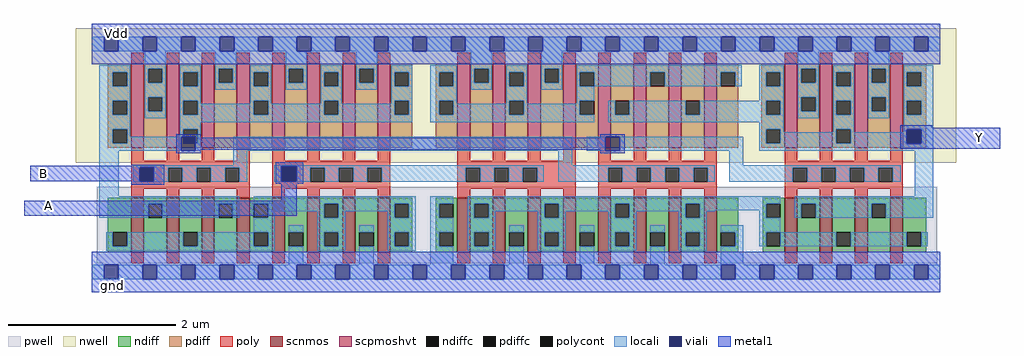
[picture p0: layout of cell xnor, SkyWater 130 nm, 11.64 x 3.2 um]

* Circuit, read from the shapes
.subckt xnor B A gnd Vdd Y
XM1 n1 B n2 VNB sky130_fd_pr__nfet_01v8 w=0.65 l=0.15 m=4
XM2 gnd A n2 VNB sky130_fd_pr__nfet_01v8 w=0.65 l=0.15 m=4
XM3 n3 A gnd VNB sky130_fd_pr__nfet_01v8 w=0.65 l=0.15 m=4
XM4 n3 B gnd VNB sky130_fd_pr__nfet_01v8 w=0.65 l=0.15 m=4
XM5 Y n1 n3 VNB sky130_fd_pr__nfet_01v8 w=0.65 l=0.15 m=4
XM6 Vdd B n1 VPB sky130_fd_pr__pfet_01v8_hvt w=1 l=0.15 m=4
XM7 Vdd A n1 VPB sky130_fd_pr__pfet_01v8_hvt w=1 l=0.15 m=4
XM8 Vdd A n4 VPB sky130_fd_pr__pfet_01v8_hvt w=1 l=0.15 m=4
XM9 Y B n4 VPB sky130_fd_pr__pfet_01v8_hvt w=1 l=0.15 m=4
XM10 Vdd n1 Y VPB sky130_fd_pr__pfet_01v8_hvt w=1 l=0.15 m=4
.ends

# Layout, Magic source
magic
tech sky130A
magscale 1 2
<< viali >>
rect 1944 306 1978 340
rect 114 216 148 250
rect 452 216 488 252
<< metal1 >>
rect 48 568 76 586
rect 1928 344 2004 350
rect 1928 340 2166 344
rect 1928 306 1944 340
rect 1978 306 2166 340
rect 1928 294 2166 306
rect 94 254 172 256
rect -147 250 172 254
rect -147 216 114 250
rect 148 216 172 250
rect 94 208 172 216
rect 438 252 504 262
rect 438 216 452 252
rect 488 216 504 252
rect 438 210 504 216
rect 452 170 488 210
rect -162 134 488 170
rect 28 -46 76 -16
use sky130_fd_sc_hd__xnor2_4  sky130_fd_sc_hd__xnor2_4_0 $PDKPATH/libs.ref/sky130_fd_sc_hd/mag
transform 1 0 0 0 1 0
box -38 -48 2062 592
<< labels >>
rlabel metal1 -116 236 -116 236 1 B
port 1 n
rlabel metal1 -104 158 -104 158 1 A
port 2 n
rlabel metal1 48 -32 48 -32 1 gnd
port 3 n
rlabel metal1 58 570 58 570 1 Vdd
port 4 n
rlabel metal1 2118 320 2118 320 1 Y
port 5 n
<< end >>

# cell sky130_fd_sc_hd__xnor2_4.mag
magic
tech sky130A
magscale 1 2
<< nwell >>
rect -38 261 2062 582
<< pwell >>
rect 12 21 2016 203
rect 29 -17 63 21
<< scnmos >>
rect 94 47 124 177
rect 178 47 208 177
rect 262 47 292 177
rect 346 47 376 177
rect 430 47 460 177
rect 514 47 544 177
rect 598 47 628 177
rect 682 47 712 177
rect 872 47 902 177
rect 956 47 986 177
rect 1040 47 1070 177
rect 1124 47 1154 177
rect 1208 47 1238 177
rect 1292 47 1322 177
rect 1376 47 1406 177
rect 1460 47 1490 177
rect 1652 47 1682 177
rect 1736 47 1766 177
rect 1820 47 1850 177
rect 1904 47 1934 177
<< scpmoshvt >>
rect 94 297 124 497
rect 178 297 208 497
rect 262 297 292 497
rect 346 297 376 497
rect 430 297 460 497
rect 514 297 544 497
rect 598 297 628 497
rect 682 297 712 497
rect 872 297 902 497
rect 956 297 986 497
rect 1040 297 1070 497
rect 1124 297 1154 497
rect 1208 297 1238 497
rect 1292 297 1322 497
rect 1376 297 1406 497
rect 1460 297 1490 497
rect 1652 297 1682 497
rect 1736 297 1766 497
rect 1820 297 1850 497
rect 1904 297 1934 497
<< ndiff >>
rect 38 95 94 177
rect 38 61 50 95
rect 84 61 94 95
rect 38 47 94 61
rect 124 163 178 177
rect 124 129 134 163
rect 168 129 178 163
rect 124 47 178 129
rect 208 95 262 177
rect 208 61 218 95
rect 252 61 262 95
rect 208 47 262 61
rect 292 163 346 177
rect 292 129 302 163
rect 336 129 346 163
rect 292 47 346 129
rect 376 163 430 177
rect 376 129 386 163
rect 420 129 430 163
rect 376 95 430 129
rect 376 61 386 95
rect 420 61 430 95
rect 376 47 430 61
rect 460 95 514 177
rect 460 61 470 95
rect 504 61 514 95
rect 460 47 514 61
rect 544 163 598 177
rect 544 129 554 163
rect 588 129 598 163
rect 544 95 598 129
rect 544 61 554 95
rect 588 61 598 95
rect 544 47 598 61
rect 628 95 682 177
rect 628 61 638 95
rect 672 61 682 95
rect 628 47 682 61
rect 712 163 764 177
rect 712 129 722 163
rect 756 129 764 163
rect 712 95 764 129
rect 712 61 722 95
rect 756 61 764 95
rect 712 47 764 61
rect 820 163 872 177
rect 820 129 828 163
rect 862 129 872 163
rect 820 95 872 129
rect 820 61 828 95
rect 862 61 872 95
rect 820 47 872 61
rect 902 163 956 177
rect 902 129 912 163
rect 946 129 956 163
rect 902 95 956 129
rect 902 61 912 95
rect 946 61 956 95
rect 902 47 956 61
rect 986 95 1040 177
rect 986 61 996 95
rect 1030 61 1040 95
rect 986 47 1040 61
rect 1070 163 1124 177
rect 1070 129 1080 163
rect 1114 129 1124 163
rect 1070 95 1124 129
rect 1070 61 1080 95
rect 1114 61 1124 95
rect 1070 47 1124 61
rect 1154 95 1208 177
rect 1154 61 1164 95
rect 1198 61 1208 95
rect 1154 47 1208 61
rect 1238 163 1292 177
rect 1238 129 1248 163
rect 1282 129 1292 163
rect 1238 95 1292 129
rect 1238 61 1248 95
rect 1282 61 1292 95
rect 1238 47 1292 61
rect 1322 95 1376 177
rect 1322 61 1332 95
rect 1366 61 1376 95
rect 1322 47 1376 61
rect 1406 163 1460 177
rect 1406 129 1416 163
rect 1450 129 1460 163
rect 1406 95 1460 129
rect 1406 61 1416 95
rect 1450 61 1460 95
rect 1406 47 1460 61
rect 1490 95 1542 177
rect 1490 61 1500 95
rect 1534 61 1542 95
rect 1490 47 1542 61
rect 1600 163 1652 177
rect 1600 129 1608 163
rect 1642 129 1652 163
rect 1600 95 1652 129
rect 1600 61 1608 95
rect 1642 61 1652 95
rect 1600 47 1652 61
rect 1682 163 1736 177
rect 1682 129 1692 163
rect 1726 129 1736 163
rect 1682 47 1736 129
rect 1766 95 1820 177
rect 1766 61 1776 95
rect 1810 61 1820 95
rect 1766 47 1820 61
rect 1850 163 1904 177
rect 1850 129 1860 163
rect 1894 129 1904 163
rect 1850 47 1904 129
rect 1934 95 1990 177
rect 1934 61 1944 95
rect 1978 61 1990 95
rect 1934 47 1990 61
<< pdiff >>
rect 38 477 94 497
rect 38 443 50 477
rect 84 443 94 477
rect 38 409 94 443
rect 38 375 50 409
rect 84 375 94 409
rect 38 341 94 375
rect 38 307 50 341
rect 84 307 94 341
rect 38 297 94 307
rect 124 485 178 497
rect 124 451 134 485
rect 168 451 178 485
rect 124 417 178 451
rect 124 383 134 417
rect 168 383 178 417
rect 124 297 178 383
rect 208 477 262 497
rect 208 443 218 477
rect 252 443 262 477
rect 208 409 262 443
rect 208 375 218 409
rect 252 375 262 409
rect 208 341 262 375
rect 208 307 218 341
rect 252 307 262 341
rect 208 297 262 307
rect 292 485 346 497
rect 292 451 302 485
rect 336 451 346 485
rect 292 297 346 451
rect 376 477 430 497
rect 376 443 386 477
rect 420 443 430 477
rect 376 409 430 443
rect 376 375 386 409
rect 420 375 430 409
rect 376 297 430 375
rect 460 485 514 497
rect 460 451 470 485
rect 504 451 514 485
rect 460 297 514 451
rect 544 477 598 497
rect 544 443 554 477
rect 588 443 598 477
rect 544 409 598 443
rect 544 375 554 409
rect 588 375 598 409
rect 544 297 598 375
rect 628 485 682 497
rect 628 451 638 485
rect 672 451 682 485
rect 628 297 682 451
rect 712 477 764 497
rect 712 443 722 477
rect 756 443 764 477
rect 712 409 764 443
rect 712 375 722 409
rect 756 375 764 409
rect 712 297 764 375
rect 820 477 872 497
rect 820 443 828 477
rect 862 443 872 477
rect 820 409 872 443
rect 820 375 828 409
rect 862 375 872 409
rect 820 297 872 375
rect 902 485 956 497
rect 902 451 912 485
rect 946 451 956 485
rect 902 297 956 451
rect 986 477 1040 497
rect 986 443 996 477
rect 1030 443 1040 477
rect 986 409 1040 443
rect 986 375 996 409
rect 1030 375 1040 409
rect 986 297 1040 375
rect 1070 485 1124 497
rect 1070 451 1080 485
rect 1114 451 1124 485
rect 1070 297 1124 451
rect 1154 477 1208 497
rect 1154 443 1164 477
rect 1198 443 1208 477
rect 1154 409 1208 443
rect 1154 375 1164 409
rect 1198 375 1208 409
rect 1154 297 1208 375
rect 1238 409 1292 497
rect 1238 375 1248 409
rect 1282 375 1292 409
rect 1238 297 1292 375
rect 1322 477 1376 497
rect 1322 443 1332 477
rect 1366 443 1376 477
rect 1322 297 1376 443
rect 1406 409 1460 497
rect 1406 375 1416 409
rect 1450 375 1460 409
rect 1406 297 1460 375
rect 1490 477 1542 497
rect 1490 443 1500 477
rect 1534 443 1542 477
rect 1490 297 1542 443
rect 1596 477 1652 497
rect 1596 443 1608 477
rect 1642 443 1652 477
rect 1596 409 1652 443
rect 1596 375 1608 409
rect 1642 375 1652 409
rect 1596 341 1652 375
rect 1596 307 1608 341
rect 1642 307 1652 341
rect 1596 297 1652 307
rect 1682 485 1736 497
rect 1682 451 1692 485
rect 1726 451 1736 485
rect 1682 417 1736 451
rect 1682 383 1692 417
rect 1726 383 1736 417
rect 1682 297 1736 383
rect 1766 477 1820 497
rect 1766 443 1776 477
rect 1810 443 1820 477
rect 1766 409 1820 443
rect 1766 375 1776 409
rect 1810 375 1820 409
rect 1766 341 1820 375
rect 1766 307 1776 341
rect 1810 307 1820 341
rect 1766 297 1820 307
rect 1850 485 1904 497
rect 1850 451 1860 485
rect 1894 451 1904 485
rect 1850 417 1904 451
rect 1850 383 1860 417
rect 1894 383 1904 417
rect 1850 297 1904 383
rect 1934 477 1990 497
rect 1934 443 1944 477
rect 1978 443 1990 477
rect 1934 409 1990 443
rect 1934 375 1944 409
rect 1978 375 1990 409
rect 1934 341 1990 375
rect 1934 307 1944 341
rect 1978 307 1990 341
rect 1934 297 1990 307
<< ndiffc >>
rect 50 61 84 95
rect 134 129 168 163
rect 218 61 252 95
rect 302 129 336 163
rect 386 129 420 163
rect 386 61 420 95
rect 470 61 504 95
rect 554 129 588 163
rect 554 61 588 95
rect 638 61 672 95
rect 722 129 756 163
rect 722 61 756 95
rect 828 129 862 163
rect 828 61 862 95
rect 912 129 946 163
rect 912 61 946 95
rect 996 61 1030 95
rect 1080 129 1114 163
rect 1080 61 1114 95
rect 1164 61 1198 95
rect 1248 129 1282 163
rect 1248 61 1282 95
rect 1332 61 1366 95
rect 1416 129 1450 163
rect 1416 61 1450 95
rect 1500 61 1534 95
rect 1608 129 1642 163
rect 1608 61 1642 95
rect 1692 129 1726 163
rect 1776 61 1810 95
rect 1860 129 1894 163
rect 1944 61 1978 95
<< pdiffc >>
rect 50 443 84 477
rect 50 375 84 409
rect 50 307 84 341
rect 134 451 168 485
rect 134 383 168 417
rect 218 443 252 477
rect 218 375 252 409
rect 218 307 252 341
rect 302 451 336 485
rect 386 443 420 477
rect 386 375 420 409
rect 470 451 504 485
rect 554 443 588 477
rect 554 375 588 409
rect 638 451 672 485
rect 722 443 756 477
rect 722 375 756 409
rect 828 443 862 477
rect 828 375 862 409
rect 912 451 946 485
rect 996 443 1030 477
rect 996 375 1030 409
rect 1080 451 1114 485
rect 1164 443 1198 477
rect 1164 375 1198 409
rect 1248 375 1282 409
rect 1332 443 1366 477
rect 1416 375 1450 409
rect 1500 443 1534 477
rect 1608 443 1642 477
rect 1608 375 1642 409
rect 1608 307 1642 341
rect 1692 451 1726 485
rect 1692 383 1726 417
rect 1776 443 1810 477
rect 1776 375 1810 409
rect 1776 307 1810 341
rect 1860 451 1894 485
rect 1860 383 1894 417
rect 1944 443 1978 477
rect 1944 375 1978 409
rect 1944 307 1978 341
<< poly >>
rect 94 497 124 523
rect 178 497 208 523
rect 262 497 292 523
rect 346 497 376 523
rect 430 497 460 523
rect 514 497 544 523
rect 598 497 628 523
rect 682 497 712 523
rect 872 497 902 523
rect 956 497 986 523
rect 1040 497 1070 523
rect 1124 497 1154 523
rect 1208 497 1238 523
rect 1292 497 1322 523
rect 1376 497 1406 523
rect 1460 497 1490 523
rect 1652 497 1682 523
rect 1736 497 1766 523
rect 1820 497 1850 523
rect 1904 497 1934 523
rect 94 265 124 297
rect 178 265 208 297
rect 262 265 292 297
rect 346 265 376 297
rect 94 249 376 265
rect 94 215 114 249
rect 148 215 182 249
rect 216 215 250 249
rect 284 215 318 249
rect 352 215 376 249
rect 94 199 376 215
rect 94 177 124 199
rect 178 177 208 199
rect 262 177 292 199
rect 346 177 376 199
rect 430 265 460 297
rect 514 265 544 297
rect 598 265 628 297
rect 682 265 712 297
rect 430 249 712 265
rect 430 215 453 249
rect 487 215 521 249
rect 555 215 589 249
rect 623 215 657 249
rect 691 215 712 249
rect 430 199 712 215
rect 430 177 460 199
rect 514 177 544 199
rect 598 177 628 199
rect 682 177 712 199
rect 872 265 902 297
rect 956 265 986 297
rect 1040 265 1070 297
rect 1124 265 1154 297
rect 872 249 1154 265
rect 872 215 892 249
rect 926 215 960 249
rect 994 215 1028 249
rect 1062 215 1154 249
rect 872 199 1154 215
rect 872 177 902 199
rect 956 177 986 199
rect 1040 177 1070 199
rect 1124 177 1154 199
rect 1208 265 1238 297
rect 1292 265 1322 297
rect 1376 265 1406 297
rect 1460 265 1490 297
rect 1208 249 1490 265
rect 1208 215 1231 249
rect 1265 215 1299 249
rect 1333 215 1367 249
rect 1401 215 1435 249
rect 1469 215 1490 249
rect 1208 199 1490 215
rect 1208 177 1238 199
rect 1292 177 1322 199
rect 1376 177 1406 199
rect 1460 177 1490 199
rect 1652 265 1682 297
rect 1736 265 1766 297
rect 1820 265 1850 297
rect 1904 265 1934 297
rect 1652 249 1934 265
rect 1652 215 1672 249
rect 1706 215 1740 249
rect 1774 215 1808 249
rect 1842 215 1876 249
rect 1910 215 1934 249
rect 1652 199 1934 215
rect 1652 177 1682 199
rect 1736 177 1766 199
rect 1820 177 1850 199
rect 1904 177 1934 199
rect 94 21 124 47
rect 178 21 208 47
rect 262 21 292 47
rect 346 21 376 47
rect 430 21 460 47
rect 514 21 544 47
rect 598 21 628 47
rect 682 21 712 47
rect 872 21 902 47
rect 956 21 986 47
rect 1040 21 1070 47
rect 1124 21 1154 47
rect 1208 21 1238 47
rect 1292 21 1322 47
rect 1376 21 1406 47
rect 1460 21 1490 47
rect 1652 21 1682 47
rect 1736 21 1766 47
rect 1820 21 1850 47
rect 1904 21 1934 47
<< polycont >>
rect 114 215 148 249
rect 182 215 216 249
rect 250 215 284 249
rect 318 215 352 249
rect 453 215 487 249
rect 521 215 555 249
rect 589 215 623 249
rect 657 215 691 249
rect 892 215 926 249
rect 960 215 994 249
rect 1028 215 1062 249
rect 1231 215 1265 249
rect 1299 215 1333 249
rect 1367 215 1401 249
rect 1435 215 1469 249
rect 1672 215 1706 249
rect 1740 215 1774 249
rect 1808 215 1842 249
rect 1876 215 1910 249
<< locali >>
rect 0 527 29 561
rect 63 527 121 561
rect 155 527 213 561
rect 247 527 305 561
rect 339 527 397 561
rect 431 527 489 561
rect 523 527 581 561
rect 615 527 673 561
rect 707 527 765 561
rect 799 527 857 561
rect 891 527 949 561
rect 983 527 1041 561
rect 1075 527 1133 561
rect 1167 527 1225 561
rect 1259 527 1317 561
rect 1351 527 1409 561
rect 1443 527 1501 561
rect 1535 527 1593 561
rect 1627 527 1685 561
rect 1719 527 1777 561
rect 1811 527 1869 561
rect 1903 527 1961 561
rect 1995 527 2024 561
rect 17 477 92 493
rect 17 443 50 477
rect 84 443 92 477
rect 17 409 92 443
rect 17 375 50 409
rect 84 375 92 409
rect 17 341 92 375
rect 126 485 176 527
rect 126 451 134 485
rect 168 451 176 485
rect 126 417 176 451
rect 126 383 134 417
rect 168 383 176 417
rect 126 367 176 383
rect 210 477 260 493
rect 210 443 218 477
rect 252 443 260 477
rect 210 409 260 443
rect 294 485 344 527
rect 294 451 302 485
rect 336 451 344 485
rect 294 435 344 451
rect 378 477 428 493
rect 378 443 386 477
rect 420 443 428 477
rect 210 375 218 409
rect 252 401 260 409
rect 378 409 428 443
rect 462 485 512 527
rect 462 451 470 485
rect 504 451 512 485
rect 462 435 512 451
rect 546 477 596 493
rect 546 443 554 477
rect 588 443 596 477
rect 378 401 386 409
rect 252 375 386 401
rect 420 401 428 409
rect 546 409 596 443
rect 630 485 680 527
rect 630 451 638 485
rect 672 451 680 485
rect 630 435 680 451
rect 714 477 764 493
rect 714 443 722 477
rect 756 443 764 477
rect 546 401 554 409
rect 420 375 554 401
rect 588 401 596 409
rect 714 409 764 443
rect 714 401 722 409
rect 588 375 722 401
rect 756 375 764 409
rect 17 307 50 341
rect 84 323 92 341
rect 210 357 764 375
rect 807 477 870 493
rect 807 443 828 477
rect 862 443 870 477
rect 807 409 870 443
rect 904 485 954 527
rect 904 451 912 485
rect 946 451 954 485
rect 904 435 954 451
rect 988 477 1038 493
rect 988 443 996 477
rect 1030 443 1038 477
rect 807 375 828 409
rect 862 401 870 409
rect 988 409 1038 443
rect 1072 485 1122 527
rect 1072 451 1080 485
rect 1114 451 1122 485
rect 1072 435 1122 451
rect 1156 477 1550 493
rect 1156 443 1164 477
rect 1198 443 1332 477
rect 1366 443 1500 477
rect 1534 443 1550 477
rect 1592 477 1650 493
rect 1592 443 1608 477
rect 1642 443 1650 477
rect 988 401 996 409
rect 862 375 996 401
rect 1030 401 1038 409
rect 1156 409 1198 443
rect 1592 409 1650 443
rect 1156 401 1164 409
rect 1030 375 1164 401
rect 807 357 1198 375
rect 1232 375 1248 409
rect 1282 375 1416 409
rect 1450 375 1608 409
rect 1642 375 1650 409
rect 1232 357 1650 375
rect 1684 485 1734 527
rect 1684 451 1692 485
rect 1726 451 1734 485
rect 1684 417 1734 451
rect 1684 383 1692 417
rect 1726 383 1734 417
rect 1684 367 1734 383
rect 1768 477 1818 493
rect 1768 443 1776 477
rect 1810 443 1818 477
rect 1768 409 1818 443
rect 1768 375 1776 409
rect 1810 375 1818 409
rect 210 341 260 357
rect 210 323 218 341
rect 84 307 213 323
rect 252 307 260 341
rect 1592 341 1650 357
rect 17 289 213 307
rect 247 289 260 307
rect 337 289 1146 323
rect 1180 289 1225 323
rect 1259 289 1554 323
rect 1592 307 1608 341
rect 1642 333 1650 341
rect 1768 341 1818 375
rect 1852 485 1902 527
rect 1852 451 1860 485
rect 1894 451 1902 485
rect 1852 417 1902 451
rect 1852 383 1860 417
rect 1894 383 1902 417
rect 1852 367 1902 383
rect 1936 477 2007 493
rect 1936 443 1944 477
rect 1978 443 2007 477
rect 1936 409 2007 443
rect 1936 375 1944 409
rect 1978 375 2007 409
rect 1768 333 1776 341
rect 1642 307 1776 333
rect 1810 333 1818 341
rect 1936 341 2007 375
rect 1936 333 1944 341
rect 1810 307 1944 333
rect 1978 307 2007 341
rect 1592 289 2007 307
rect 17 181 64 289
rect 337 255 371 289
rect 1112 255 1146 289
rect 1520 255 1554 289
rect 98 249 371 255
rect 98 215 114 249
rect 148 215 182 249
rect 216 215 250 249
rect 284 215 318 249
rect 352 215 371 249
rect 435 249 1078 255
rect 435 215 453 249
rect 487 215 521 249
rect 555 215 589 249
rect 623 215 657 249
rect 691 215 892 249
rect 926 215 960 249
rect 994 215 1028 249
rect 1062 215 1078 249
rect 1112 249 1486 255
rect 1112 215 1231 249
rect 1265 215 1299 249
rect 1333 215 1367 249
rect 1401 215 1435 249
rect 1469 215 1486 249
rect 1520 249 1929 255
rect 1520 215 1672 249
rect 1706 215 1740 249
rect 1774 215 1808 249
rect 1842 215 1876 249
rect 1910 215 1929 249
rect 1963 181 2007 289
rect 17 163 352 181
rect 17 129 134 163
rect 168 129 302 163
rect 336 129 352 163
rect 386 163 772 181
rect 420 145 554 163
rect 420 129 436 145
rect 386 95 436 129
rect 538 129 554 145
rect 588 145 722 163
rect 588 129 604 145
rect 34 61 50 95
rect 84 61 218 95
rect 252 61 386 95
rect 420 61 436 95
rect 34 51 436 61
rect 470 95 504 111
rect 470 17 504 61
rect 538 95 604 129
rect 706 129 722 145
rect 756 129 772 163
rect 538 61 554 95
rect 588 61 604 95
rect 538 51 604 61
rect 638 95 672 111
rect 638 17 672 61
rect 706 95 772 129
rect 706 61 722 95
rect 756 61 772 95
rect 706 51 772 61
rect 807 163 862 181
rect 807 129 828 163
rect 807 95 862 129
rect 807 61 828 95
rect 807 17 862 61
rect 896 163 1642 181
rect 896 129 912 163
rect 946 145 1080 163
rect 946 129 962 145
rect 896 95 962 129
rect 1064 129 1080 145
rect 1114 145 1248 163
rect 1114 129 1130 145
rect 896 61 912 95
rect 946 61 962 95
rect 896 51 962 61
rect 996 95 1030 111
rect 996 17 1030 61
rect 1064 95 1130 129
rect 1232 129 1248 145
rect 1282 145 1416 163
rect 1282 129 1298 145
rect 1064 61 1080 95
rect 1114 61 1130 95
rect 1064 51 1130 61
rect 1164 95 1198 111
rect 1164 17 1198 61
rect 1232 95 1298 129
rect 1400 129 1416 145
rect 1450 147 1608 163
rect 1450 145 1486 147
rect 1450 129 1466 145
rect 1232 61 1248 95
rect 1282 61 1298 95
rect 1232 51 1298 61
rect 1332 95 1366 111
rect 1332 17 1366 61
rect 1400 95 1466 129
rect 1592 129 1608 147
rect 1676 163 2007 181
rect 1676 129 1692 163
rect 1726 129 1860 163
rect 1894 129 2007 163
rect 1400 61 1416 95
rect 1450 61 1466 95
rect 1400 51 1466 61
rect 1500 95 1554 111
rect 1534 61 1554 95
rect 1592 95 1642 129
rect 1592 61 1608 95
rect 1642 61 1776 95
rect 1810 61 1944 95
rect 1978 61 1994 95
rect 1500 17 1554 61
rect 0 -17 29 17
rect 63 -17 121 17
rect 155 -17 213 17
rect 247 -17 305 17
rect 339 -17 397 17
rect 431 -17 489 17
rect 523 -17 581 17
rect 615 -17 673 17
rect 707 -17 765 17
rect 799 -17 857 17
rect 891 -17 949 17
rect 983 -17 1041 17
rect 1075 -17 1133 17
rect 1167 -17 1225 17
rect 1259 -17 1317 17
rect 1351 -17 1409 17
rect 1443 -17 1501 17
rect 1535 -17 1593 17
rect 1627 -17 1685 17
rect 1719 -17 1777 17
rect 1811 -17 1869 17
rect 1903 -17 1961 17
rect 1995 -17 2024 17
<< viali >>
rect 29 527 63 561
rect 121 527 155 561
rect 213 527 247 561
rect 305 527 339 561
rect 397 527 431 561
rect 489 527 523 561
rect 581 527 615 561
rect 673 527 707 561
rect 765 527 799 561
rect 857 527 891 561
rect 949 527 983 561
rect 1041 527 1075 561
rect 1133 527 1167 561
rect 1225 527 1259 561
rect 1317 527 1351 561
rect 1409 527 1443 561
rect 1501 527 1535 561
rect 1593 527 1627 561
rect 1685 527 1719 561
rect 1777 527 1811 561
rect 1869 527 1903 561
rect 1961 527 1995 561
rect 213 307 218 323
rect 218 307 247 323
rect 213 289 247 307
rect 1225 289 1259 323
rect 29 -17 63 17
rect 121 -17 155 17
rect 213 -17 247 17
rect 305 -17 339 17
rect 397 -17 431 17
rect 489 -17 523 17
rect 581 -17 615 17
rect 673 -17 707 17
rect 765 -17 799 17
rect 857 -17 891 17
rect 949 -17 983 17
rect 1041 -17 1075 17
rect 1133 -17 1167 17
rect 1225 -17 1259 17
rect 1317 -17 1351 17
rect 1409 -17 1443 17
rect 1501 -17 1535 17
rect 1593 -17 1627 17
rect 1685 -17 1719 17
rect 1777 -17 1811 17
rect 1869 -17 1903 17
rect 1961 -17 1995 17
<< metal1 >>
rect 0 561 2024 592
rect 0 527 29 561
rect 63 527 121 561
rect 155 527 213 561
rect 247 527 305 561
rect 339 527 397 561
rect 431 527 489 561
rect 523 527 581 561
rect 615 527 673 561
rect 707 527 765 561
rect 799 527 857 561
rect 891 527 949 561
rect 983 527 1041 561
rect 1075 527 1133 561
rect 1167 527 1225 561
rect 1259 527 1317 561
rect 1351 527 1409 561
rect 1443 527 1501 561
rect 1535 527 1593 561
rect 1627 527 1685 561
rect 1719 527 1777 561
rect 1811 527 1869 561
rect 1903 527 1961 561
rect 1995 527 2024 561
rect 0 496 2024 527
rect 201 323 259 329
rect 201 289 213 323
rect 247 320 259 323
rect 1213 323 1271 329
rect 1213 320 1225 323
rect 247 292 1225 320
rect 247 289 259 292
rect 201 283 259 289
rect 1213 289 1225 292
rect 1259 289 1271 323
rect 1213 283 1271 289
rect 0 17 2024 48
rect 0 -17 29 17
rect 63 -17 121 17
rect 155 -17 213 17
rect 247 -17 305 17
rect 339 -17 397 17
rect 431 -17 489 17
rect 523 -17 581 17
rect 615 -17 673 17
rect 707 -17 765 17
rect 799 -17 857 17
rect 891 -17 949 17
rect 983 -17 1041 17
rect 1075 -17 1133 17
rect 1167 -17 1225 17
rect 1259 -17 1317 17
rect 1351 -17 1409 17
rect 1443 -17 1501 17
rect 1535 -17 1593 17
rect 1627 -17 1685 17
rect 1719 -17 1777 17
rect 1811 -17 1869 17
rect 1903 -17 1961 17
rect 1995 -17 2024 17
rect 0 -48 2024 -17
<< labels >>
flabel locali s 1965 357 1999 391 0 FreeSans 400 0 0 0 Y
port 7 nsew signal output
flabel locali s 213 221 247 255 0 FreeSans 400 0 0 0 B
port 2 nsew signal input
flabel locali s 765 221 799 255 0 FreeSans 400 0 0 0 A
port 1 nsew signal input
flabel pwell s 29 -17 63 17 0 FreeSans 200 0 0 0 VNB
port 4 nsew ground bidirectional
flabel nwell s 29 527 63 561 0 FreeSans 200 0 0 0 VPB
port 5 nsew power bidirectional
flabel metal1 s 29 -17 63 17 0 FreeSans 200 0 0 0 VGND
port 3 nsew ground bidirectional abutment
flabel metal1 s 29 527 63 561 0 FreeSans 200 0 0 0 VPWR
port 6 nsew power bidirectional abutment
rlabel comment s 0 0 0 0 4 xnor2_4
rlabel metal1 s 0 -48 2024 48 1 VGND
port 3 nsew ground bidirectional abutment
rlabel metal1 s 0 496 2024 592 1 VPWR
port 6 nsew power bidirectional abutment
<< properties >>
string FIXED_BBOX 0 0 2024 544
string GDS_END 610512
string GDS_FILE $PDKPATH/libs.ref/sky130_fd_sc_hd/gds/sky130_fd_sc_hd.gds
string GDS_START 596472
string LEFclass CORE
string LEFsite unithd
string LEFsymmetry X Y R90
string path 0.000 0.000 10.120 0.000 
<< end >>
